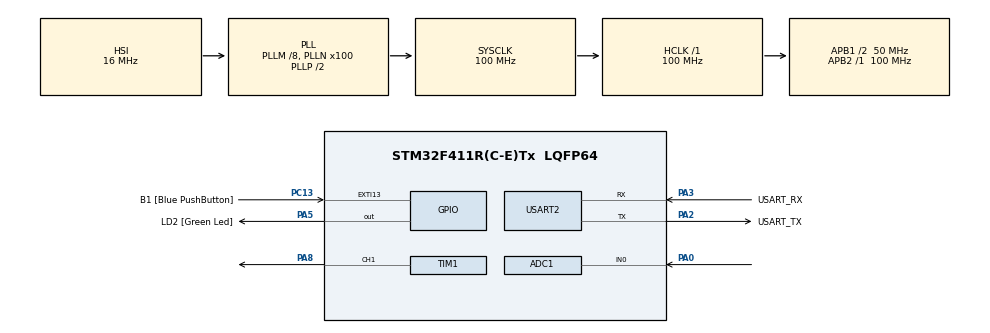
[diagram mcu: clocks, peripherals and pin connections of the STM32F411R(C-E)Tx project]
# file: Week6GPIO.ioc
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Mcu.Family=STM32F4
RCC.CortexFreq_Value=100000000
PA14.GPIO_Label=TCK
TIM1.Pulse-PWM\ Generation1\ CH1=5000
RCC.SYSCLKSource=RCC_SYSCLKSOURCE_PLLCLK
ProjectManager.StackSize=0x400
NVIC.ADC_IRQn=true\:0\:0\:false\:false\:true\:true\:true
PH0\ -\ OSC_IN.Signal=RCC_OSC_IN
RCC.HCLKFreq_Value=100000000
RCC.APB2TimFreq_Value=100000000
TIM3.Period=1000
RCC.AHBFreq_Value=100000000
ADC1.Channel-0\#ChannelRegularConversion=ADC_CHANNEL_0
NVIC.TIM1_TRG_COM_TIM11_IRQn=true\:0\:0\:false\:false\:true\:true\:true
RCC.HSE_VALUE=8000000
PC13-ANTI_TAMP.Signal=GPXTI13
PC14-OSC32_IN.Mode=LSE-External-Oscillator
TIM1.Channel-PWM\ Generation1\ CH1=TIM_CHANNEL_1
PA14.Mode=Serial_Wire
TIM3.Prescaler=99
PA8.Signal=S_TIM1_CH1
SH.ADCx_IN0.0=ADC1_IN0,IN0
VP_TIM1_VS_ClockSourceINT.Mode=Internal
ADC1.SamplingTime-0\#ChannelRegularConversion=ADC_SAMPLETIME_480CYCLES
RCC.FLatency-AdvancedSettings=FLASH_LATENCY_3
Mcu.Package=LQFP64
USART2.VirtualMode=VM_ASYNC
PA2.GPIO_Label=USART_TX
RCC.APB1TimFreq_Value=100000000
TIM1.Period=10000
VP_TIM3_VS_ClockSourceINT.Mode=Internal
PA3.Signal=USART2_RX
PB3.GPIO_Label=SWO
PC15-OSC32_OUT.Mode=LSE-External-Oscillator
ADC1.Rank-0\#ChannelRegularConversion=1
PC13-ANTI_TAMP.GPIO_Label=B1 [Blue PushButton]
PH1\ -\ OSC_OUT.Mode=HSE-External-Clock-Source
TIM11.Prescaler=99
RCC.APB1CLKDivider=RCC_HCLK_DIV2
PC14-OSC32_IN.Signal=RCC_OSC32_IN
PA0-WKUP.Signal=ADCx_IN0
VP_TIM11_VS_ClockSourceINT.Mode=Enable_Timer
PA13.Signal=SYS_JTMS-SWDIO
PA3.Mode=Asynchronous
PH0\ -\ OSC_IN.Mode=HSE-External-Clock-Source
SH.S_TIM1_CH1.0=TIM1_CH1,PWM Generation1 CH1
ProjectManager.TargetToolchain=STM32CubeIDE
PC15-OSC32_OUT.Signal=RCC_OSC32_OUT
PA5.Signal=GPIO_Output
PH1\ -\ OSC_OUT.Signal=RCC_OSC_OUT
board=NUCLEO-F411RE
RCC.VCOOutputFreq_Value=200000000
RCC.APB2Freq_Value=100000000
PA13.Mode=Serial_Wire
Mcu.Name=STM32F411R(C-E)Tx
PA13.GPIO_Label=TMS
PA2.Signal=USART2_TX
ADC1.ExternalTrigConv=ADC_EXTERNALTRIGCONV_T3_TRGO
RCC.48MHZClocksFreq_Value=50000000
PB3.Signal=SYS_JTDO-SWO
RCC.SYSCLKFreq_VALUE=100000000
ADC1.master=1
PA5.GPIO_Label=LD2 [Green Led]
PC13-ANTI_TAMP.GPIO_ModeDefaultEXTI=GPIO_MODE_IT_FALLING
PA14.Signal=SYS_JTCK-SWCLK
ProjectManager.HeapSize=0x200
RCC.HSI_VALUE=16000000
NVIC.PriorityGroup=NVIC_PRIORITYGROUP_0
ADC1.NbrOfConversionFlag=1
RCC.PLLM=8
RCC.PLLN=100
PA2.Mode=Asynchronous
TIM3.TIM_MasterOutputTrigger=TIM_TRGO_UPDATE
RCC.APB1Freq_Value=50000000
PA3.GPIO_Label=USART_RX

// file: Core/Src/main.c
/* USER CODE BEGIN Header */
/**
  ******************************************************************************
  * @file           : main.c
  * @brief          : Main program body
  ******************************************************************************
  * @attention
  *
  * <h2><center>&copy; Copyright (c) 2021 STMicroelectronics.
  * All rights reserved.</center></h2>
  *
  * This software component is licensed by ST under BSD 3-Clause license,
  * the "License"; You may not use this file except in compliance with the
  * License. You may obtain a copy of the License at:
  *                        opensource.org/licenses/BSD-3-Clause
  *
  ******************************************************************************
  */
/* USER CODE END Header */
#include "main.h"

ADC_HandleTypeDef hadc1;

TIM_HandleTypeDef htim1;
TIM_HandleTypeDef htim3;
TIM_HandleTypeDef htim11;

UART_HandleTypeDef huart2;

/* USER CODE BEGIN PV */

//for microsecond measurement
uint64_t _micros = 0;
uint64_t TimeStamp = 0;

uint8_t ADCUpdateFlag = 0;
uint16_t ADCFeedBack = 0;
uint16_t ADCDesire = 1241;
float error = 0;
float pre_error = 0;
float Kp = 5;
float Ki = 8000;
float Integral = 0;
float Voltage = 0;

float PWMOut = 0;

uint64_t TimeOutputLoop = 0;

/* USER CODE END PV */

void SystemClock_Config(void);
static void MX_GPIO_Init(void);
static void MX_USART2_UART_Init(void);
static void MX_ADC1_Init(void);
static void MX_TIM1_Init(void);
static void MX_TIM3_Init(void);
static void MX_TIM11_Init(void);
/* USER CODE BEGIN PFP */
uint64_t micros();
/* USER CODE END PFP */

int main(void)
{
  /* USER CODE BEGIN 1 */
  #define dt 0.001
  /* USER CODE END 1 */

  /* MCU Configuration--------------------------------------------------------*/

  /* Reset of all peripherals, Initializes the Flash interface and the Systick. */
  HAL_Init();

  /* Configure the system clock */
  SystemClock_Config();

  /* Initialize all configured peripherals */
  MX_GPIO_Init();
  MX_USART2_UART_Init();
  MX_ADC1_Init();
  MX_TIM1_Init();
  MX_TIM3_Init();
  MX_TIM11_Init();
  /* USER CODE BEGIN 2 */

  HAL_ADC_Start_IT(&hadc1);
  HAL_TIM_Base_Start(&htim3);

  HAL_TIM_Base_Start(&htim1);
  HAL_TIM_PWM_Start(&htim1, TIM_CHANNEL_1);

  HAL_TIM_Base_Start_IT(&htim11);

  /* USER CODE END 2 */

  /* Infinite loop */
  /* USER CODE BEGIN WHILE */
  while (1)
  {
	  if (micros() - TimeOutputLoop >= 1000)
	  {
		  TimeOutputLoop = micros();
		  error = ADCDesire - ADCFeedBack;
		  if(error != 0)
		  {
			  Integral += error * dt;
			  PWMOut = (Kp*error) + (Ki*Integral);
		  }
		  Voltage = (ADCFeedBack/4096.0)*3.3;
		  __HAL_TIM_SET_COMPARE(&htim1, TIM_CHANNEL_1,PWMOut);
	  }
    /* USER CODE END WHILE */

  }
}

void SystemClock_Config(void)
{
  RCC_OscInitTypeDef RCC_OscInitStruct = {0};
  RCC_ClkInitTypeDef RCC_ClkInitStruct = {0};

  /** Configure the main internal regulator output voltage
  */
  __HAL_RCC_PWR_CLK_ENABLE();
  __HAL_PWR_VOLTAGESCALING_CONFIG(PWR_REGULATOR_VOLTAGE_SCALE1);
  /** Initializes the RCC Oscillators according to the specified parameters
  * in the RCC_OscInitTypeDef structure.
  */
  RCC_OscInitStruct.OscillatorType = RCC_OSCILLATORTYPE_HSI;
  RCC_OscInitStruct.HSIState = RCC_HSI_ON;
  RCC_OscInitStruct.HSICalibrationValue = RCC_HSICALIBRATION_DEFAULT;
  RCC_OscInitStruct.PLL.PLLState = RCC_PLL_ON;
  RCC_OscInitStruct.PLL.PLLSource = RCC_PLLSOURCE_HSI;
  RCC_OscInitStruct.PLL.PLLM = 8;
  RCC_OscInitStruct.PLL.PLLN = 100;
  RCC_OscInitStruct.PLL.PLLP = RCC_PLLP_DIV2;
  RCC_OscInitStruct.PLL.PLLQ = 4;
  if (HAL_RCC_OscConfig(&RCC_OscInitStruct) != HAL_OK)
  {
    Error_Handler();
  }
  /** Initializes the CPU, AHB and APB buses clocks
  */
  RCC_ClkInitStruct.ClockType = RCC_CLOCKTYPE_HCLK|RCC_CLOCKTYPE_SYSCLK
                              |RCC_CLOCKTYPE_PCLK1|RCC_CLOCKTYPE_PCLK2;
  RCC_ClkInitStruct.SYSCLKSource = RCC_SYSCLKSOURCE_PLLCLK;
  RCC_ClkInitStruct.AHBCLKDivider = RCC_SYSCLK_DIV1;
  RCC_ClkInitStruct.APB1CLKDivider = RCC_HCLK_DIV2;
  RCC_ClkInitStruct.APB2CLKDivider = RCC_HCLK_DIV1;

  if (HAL_RCC_ClockConfig(&RCC_ClkInitStruct, FLASH_LATENCY_3) != HAL_OK)
  {
    Error_Handler();
  }
}

static void MX_ADC1_Init(void)
{

  ADC_ChannelConfTypeDef sConfig = {0};

  /** Configure the global features of the ADC (Clock, Resolution, Data Alignment and number of conversion)
  */
  hadc1.Instance = ADC1;
  hadc1.Init.ClockPrescaler = ADC_CLOCK_SYNC_PCLK_DIV4;
  hadc1.Init.Resolution = ADC_RESOLUTION_12B;
  hadc1.Init.ScanConvMode = DISABLE;
  hadc1.Init.ContinuousConvMode = DISABLE;
  hadc1.Init.DiscontinuousConvMode = DISABLE;
  hadc1.Init.ExternalTrigConvEdge = ADC_EXTERNALTRIGCONVEDGE_RISING;
  hadc1.Init.ExternalTrigConv = ADC_EXTERNALTRIGCONV_T3_TRGO;
  hadc1.Init.DataAlign = ADC_DATAALIGN_RIGHT;
  hadc1.Init.NbrOfConversion = 1;
  hadc1.Init.DMAContinuousRequests = DISABLE;
  hadc1.Init.EOCSelection = ADC_EOC_SINGLE_CONV;
  if (HAL_ADC_Init(&hadc1) != HAL_OK)
  {
    Error_Handler();
  }
  /** Configure for the selected ADC regular channel its corresponding rank in the sequencer and its sample time.
  */
  sConfig.Channel = ADC_CHANNEL_0;
  sConfig.Rank = 1;
  sConfig.SamplingTime = ADC_SAMPLETIME_480CYCLES;
  if (HAL_ADC_ConfigChannel(&hadc1, &sConfig) != HAL_OK)
  {
    Error_Handler();
  }

}

static void MX_TIM1_Init(void)
{

  TIM_ClockConfigTypeDef sClockSourceConfig = {0};
  TIM_MasterConfigTypeDef sMasterConfig = {0};
  TIM_OC_InitTypeDef sConfigOC = {0};
  TIM_BreakDeadTimeConfigTypeDef sBreakDeadTimeConfig = {0};

  htim1.Instance = TIM1;
  htim1.Init.Prescaler = 0;
  htim1.Init.CounterMode = TIM_COUNTERMODE_UP;
  htim1.Init.Period = 10000;
  htim1.Init.ClockDivision = TIM_CLOCKDIVISION_DIV1;
  htim1.Init.RepetitionCounter = 0;
  htim1.Init.AutoReloadPreload = TIM_AUTORELOAD_PRELOAD_DISABLE;
  if (HAL_TIM_Base_Init(&htim1) != HAL_OK)
  {
    Error_Handler();
  }
  sClockSourceConfig.ClockSource = TIM_CLOCKSOURCE_INTERNAL;
  if (HAL_TIM_ConfigClockSource(&htim1, &sClockSourceConfig) != HAL_OK)
  {
    Error_Handler();
  }
  if (HAL_TIM_PWM_Init(&htim1) != HAL_OK)
  {
    Error_Handler();
  }
  sMasterConfig.MasterOutputTrigger = TIM_TRGO_RESET;
  sMasterConfig.MasterSlaveMode = TIM_MASTERSLAVEMODE_DISABLE;
  if (HAL_TIMEx_MasterConfigSynchronization(&htim1, &sMasterConfig) != HAL_OK)
  {
    Error_Handler();
  }
  sConfigOC.OCMode = TIM_OCMODE_PWM1;
  sConfigOC.Pulse = 5000;
  sConfigOC.OCPolarity = TIM_OCPOLARITY_HIGH;
  sConfigOC.OCNPolarity = TIM_OCNPOLARITY_HIGH;
  sConfigOC.OCFastMode = TIM_OCFAST_DISABLE;
  sConfigOC.OCIdleState = TIM_OCIDLESTATE_RESET;
  sConfigOC.OCNIdleState = TIM_OCNIDLESTATE_RESET;
  if (HAL_TIM_PWM_ConfigChannel(&htim1, &sConfigOC, TIM_CHANNEL_1) != HAL_OK)
  {
    Error_Handler();
  }
  sBreakDeadTimeConfig.OffStateRunMode = TIM_OSSR_DISABLE;
  sBreakDeadTimeConfig.OffStateIDLEMode = TIM_OSSI_DISABLE;
  sBreakDeadTimeConfig.LockLevel = TIM_LOCKLEVEL_OFF;
  sBreakDeadTimeConfig.DeadTime = 0;
  sBreakDeadTimeConfig.BreakState = TIM_BREAK_DISABLE;
  sBreakDeadTimeConfig.BreakPolarity = TIM_BREAKPOLARITY_HIGH;
  sBreakDeadTimeConfig.AutomaticOutput = TIM_AUTOMATICOUTPUT_DISABLE;
  if (HAL_TIMEx_ConfigBreakDeadTime(&htim1, &sBreakDeadTimeConfig) != HAL_OK)
  {
    Error_Handler();
  }
  HAL_TIM_MspPostInit(&htim1);

}

static void MX_TIM3_Init(void)
{

  TIM_ClockConfigTypeDef sClockSourceConfig = {0};
  TIM_MasterConfigTypeDef sMasterConfig = {0};

  htim3.Instance = TIM3;
  htim3.Init.Prescaler = 99;
  htim3.Init.CounterMode = TIM_COUNTERMODE_UP;
  htim3.Init.Period = 1000;
  htim3.Init.ClockDivision = TIM_CLOCKDIVISION_DIV1;
  htim3.Init.AutoReloadPreload = TIM_AUTORELOAD_PRELOAD_DISABLE;
  if (HAL_TIM_Base_Init(&htim3) != HAL_OK)
  {
    Error_Handler();
  }
  sClockSourceConfig.ClockSource = TIM_CLOCKSOURCE_INTERNAL;
  if (HAL_TIM_ConfigClockSource(&htim3, &sClockSourceConfig) != HAL_OK)
  {
    Error_Handler();
  }
  sMasterConfig.MasterOutputTrigger = TIM_TRGO_UPDATE;
  sMasterConfig.MasterSlaveMode = TIM_MASTERSLAVEMODE_DISABLE;
  if (HAL_TIMEx_MasterConfigSynchronization(&htim3, &sMasterConfig) != HAL_OK)
  {
    Error_Handler();
  }

}

static void MX_TIM11_Init(void)
{

  htim11.Instance = TIM11;
  htim11.Init.Prescaler = 99;
  htim11.Init.CounterMode = TIM_COUNTERMODE_UP;
  htim11.Init.Period = 65535;
  htim11.Init.ClockDivision = TIM_CLOCKDIVISION_DIV1;
  htim11.Init.AutoReloadPreload = TIM_AUTORELOAD_PRELOAD_DISABLE;
  if (HAL_TIM_Base_Init(&htim11) != HAL_OK)
  {
    Error_Handler();
  }

}

static void MX_USART2_UART_Init(void)
{

  huart2.Instance = USART2;
  huart2.Init.BaudRate = 115200;
  huart2.Init.WordLength = UART_WORDLENGTH_8B;
  huart2.Init.StopBits = UART_STOPBITS_1;
  huart2.Init.Parity = UART_PARITY_NONE;
  huart2.Init.Mode = UART_MODE_TX_RX;
  huart2.Init.HwFlowCtl = UART_HWCONTROL_NONE;
  huart2.Init.OverSampling = UART_OVERSAMPLING_16;
  if (HAL_UART_Init(&huart2) != HAL_OK)
  {
    Error_Handler();
  }

}

static void MX_GPIO_Init(void)
{
  GPIO_InitTypeDef GPIO_InitStruct = {0};

  /* GPIO Ports Clock Enable */
  __HAL_RCC_GPIOC_CLK_ENABLE();
  __HAL_RCC_GPIOH_CLK_ENABLE();
  __HAL_RCC_GPIOA_CLK_ENABLE();
  __HAL_RCC_GPIOB_CLK_ENABLE();

  /*Configure GPIO pin Output Level */
  HAL_GPIO_WritePin(LD2_GPIO_Port, LD2_Pin, GPIO_PIN_RESET);

  /*Configure GPIO pin : B1_Pin */
  GPIO_InitStruct.Pin = B1_Pin;
  GPIO_InitStruct.Mode = GPIO_MODE_IT_FALLING;
  GPIO_InitStruct.Pull = GPIO_NOPULL;
  HAL_GPIO_Init(B1_GPIO_Port, &GPIO_InitStruct);

  /*Configure GPIO pin : LD2_Pin */
  GPIO_InitStruct.Pin = LD2_Pin;
  GPIO_InitStruct.Mode = GPIO_MODE_OUTPUT_PP;
  GPIO_InitStruct.Pull = GPIO_NOPULL;
  GPIO_InitStruct.Speed = GPIO_SPEED_FREQ_LOW;
  HAL_GPIO_Init(LD2_GPIO_Port, &GPIO_InitStruct);

}

/* USER CODE BEGIN 4 */

void HAL_ADC_ConvCpltCallback(ADC_HandleTypeDef *hadc)
{
	ADCFeedBack = HAL_ADC_GetValue(&hadc1);
}

uint64_t micros()
{
	return _micros + htim11.Instance->CNT;//counter of Timer5
}

//interrupt
void HAL_TIM_PeriodElapsedCallback(TIM_HandleTypeDef *htim)
{
	if(htim == &htim11)
	{
		_micros += 65535;
	}
}

/* USER CODE END 4 */

void Error_Handler(void)
{
  __disable_irq();
  while (1)
  {
  }
}

/************************ (C) COPYRIGHT STMicroelectronics *****END OF FILE****/
